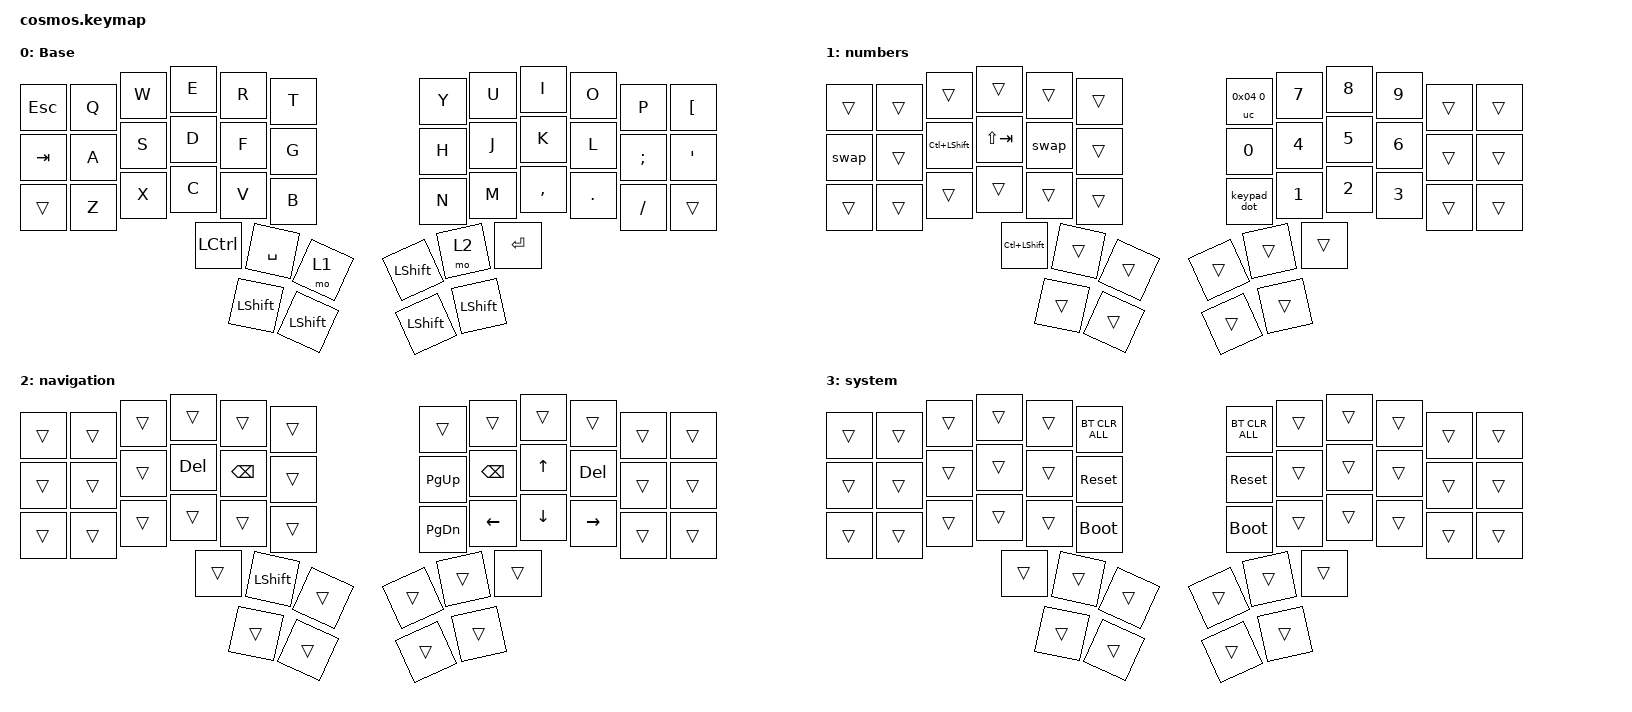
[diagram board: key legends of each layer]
#include <behaviors/unicode.dtsi>
#include <behaviors.dtsi>
#include <dt-bindings/zmk/bt.h>
#include <dt-bindings/zmk/keys.h>

// Unicode settings

&uc {
    default-mode = <UC_MODE_LINUX>;
    linux-key = <INSERT>;
};

/ {
    combos {
        compatible = "zmk,combos";

        sys_left {
            bindings = <&mo 3>;
            key-positions = <43 42>;
        };

        sys_right {
            bindings = <&mo 3>;
            key-positions = <44 45>;
        };
    };

    behaviors {
        keypad_dot: keypad_dot {
            compatible = "zmk,behavior-mod-morph";
            label = "KEYPAD_DOT";
            bindings = <&kp KP_DOT>, <&kp PERIOD>;

            #binding-cells = <0>;
            mods = <(MOD_LSFT|MOD_RSFT)>;
        };

        space_shift: space_shift {
            compatible = "zmk,behavior-mod-morph";
            label = "SPACE_SHIFT";
            bindings = <&kp SPACE>, <&kp LEFT_SHIFT>;

            #binding-cells = <0>;
            mods = <(MOD_LALT|MOD_RALT|MOD_LCTL|MOD_RCTL)>;
            keep-mods = <(MOD_LALT|MOD_RALT|MOD_LCTL|MOD_RCTL)>;
        };

        rpi: require_prior_idle {
            compatible = "zmk,behavior-hold-tap";
            #binding-cells = <2>;
            flavor = "tap-unless-interrupted";
            tapping-term-ms = <1000>;
            #quick-tap-ms = <0>;
            require-prior-idle-ms = <200>;
            bindings = <&kp>, <&kp>;
        };

        swap: swapper {
            compatible = "zmk,behavior-tri-state";
            label = "SWAPPER";
            #binding-cells = <0>;
            bindings = <&kt LALT>, <&kp TAB>, <&kt LALT>;

            ignored-key-positions = <42 15>;
        };
    };

    keymap {
        compatible = "zmk,keymap";

        default_layer {
            display-name = "Base";
            bindings = <
&kp ESCAPE  &kp Q  &kp W  &kp E      &kp R           &kp T           &kp Y           &kp U           &kp I      &kp O       &kp P          &kp LEFT_BRACKET
&kp TAB     &kp A  &kp S  &kp D      &kp F           &kp G           &kp H           &kp J           &kp K      &kp L       &kp SEMICOLON  &kp SQT
&trans      &kp Z  &kp X  &kp C      &kp V           &kp B           &kp N           &kp M           &kp COMMA  &kp PERIOD  &kp SLASH      &trans
                          &kp LCTRL  &kp SPACE       &mo 1           &kp LEFT_SHIFT  &mo 2           &kp ENTER
                                     &kp LEFT_SHIFT  &kp LEFT_SHIFT  &kp LEFT_SHIFT  &kp LEFT_SHIFT
            >;
        };

        numbers {
            bindings = <
&trans  &trans  &trans              &trans              &trans  &trans  &uc 0x04 0   &kp N7  &kp N8  &kp N9  &trans  &trans
&swap   &trans  &kp LC(LEFT_SHIFT)  &kp LS(TAB)         &swap   &trans  &kp N0       &kp N4  &kp N5  &kp N6  &trans  &trans
&trans  &trans  &trans              &trans              &trans  &trans  &keypad_dot  &kp N1  &kp N2  &kp N3  &trans  &trans
                                    &kp LC(LEFT_SHIFT)  &trans  &trans  &trans       &trans  &trans
                                                        &trans  &trans  &trans       &trans
            >;
        };

        navigation {
            bindings = <
&trans  &trans  &trans  &trans   &trans          &trans  &trans         &trans          &trans          &trans           &trans  &trans
&trans  &trans  &trans  &kp DEL  &kp BACKSPACE   &trans  &kp PAGE_UP    &kp BACKSPACE   &kp UP_ARROW    &kp DELETE       &trans  &trans
&trans  &trans  &trans  &trans   &trans          &trans  &kp PAGE_DOWN  &kp LEFT_ARROW  &kp DOWN_ARROW  &kp RIGHT_ARROW  &trans  &trans
                        &trans   &kp LEFT_SHIFT  &trans  &trans         &trans          &trans
                                 &trans          &trans  &trans         &trans
            >;
        };

        system {
            bindings = <
&trans  &trans  &trans  &trans  &trans  &bt BT_CLR_ALL  &bt BT_CLR_ALL  &trans  &trans  &trans  &trans  &trans
&trans  &trans  &trans  &trans  &trans  &sys_reset      &sys_reset      &trans  &trans  &trans  &trans  &trans
&trans  &trans  &trans  &trans  &trans  &bootloader     &bootloader     &trans  &trans  &trans  &trans  &trans
                        &trans  &trans  &trans          &trans          &trans  &trans
                                &trans  &trans          &trans          &trans
            >;
        };
    };
};
